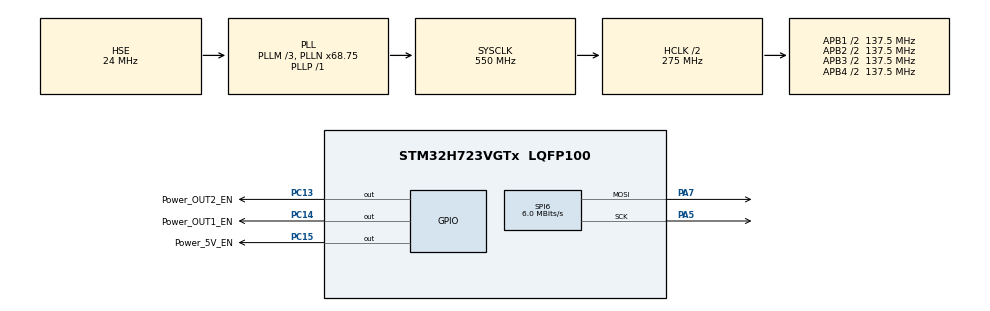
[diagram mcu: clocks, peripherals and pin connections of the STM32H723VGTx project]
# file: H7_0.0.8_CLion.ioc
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Bdma.Request0=SPI6_TX
Bdma.RequestsNb=1
Bdma.SPI6_TX.0.Direction=DMA_MEMORY_TO_PERIPH
Bdma.SPI6_TX.0.EventEnable=DISABLE
Bdma.SPI6_TX.0.Instance=BDMA_Channel0
Bdma.SPI6_TX.0.MemDataAlignment=DMA_MDATAALIGN_BYTE
Bdma.SPI6_TX.0.MemInc=DMA_MINC_ENABLE
Bdma.SPI6_TX.0.Mode=DMA_NORMAL
Bdma.SPI6_TX.0.PeriphDataAlignment=DMA_PDATAALIGN_BYTE
Bdma.SPI6_TX.0.PeriphInc=DMA_PINC_DISABLE
Bdma.SPI6_TX.0.Polarity=HAL_DMAMUX_REQ_GEN_RISING
Bdma.SPI6_TX.0.Priority=DMA_PRIORITY_LOW
Bdma.SPI6_TX.0.RequestNumber=1
Bdma.SPI6_TX.0.SignalID=NONE
Bdma.SPI6_TX.0.SyncEnable=DISABLE
Bdma.SPI6_TX.0.SyncPolarity=HAL_DMAMUX_SYNC_NO_EVENT
Bdma.SPI6_TX.0.SyncRequestNumber=1
Bdma.SPI6_TX.0.SyncSignalID=NONE
CORTEX_M7.CPU_ICache=Enabled
CORTEX_M7.MPU_Control=__NULL
CORTEX_M7.default_mode_Activation=1
FREERTOS.MEMORY_ALLOCATION=1
FREERTOS.Tasks01=defaultTask,0,128,StartDefaultTask,Default,NULL,Static,defaultTaskBuffer,defaultTaskControlBlock
FREERTOS.Timers01=myTimer01,Callback01,osTimerPeriodic,Default,NULL,Static,myTimer01ControlBlock;myTimer02,Callback02,osTimerPeriodic,Default,NULL,Static,myTimer02ControlBlock;myTimer03,Callback03,osTimerPeriodic,Default,NULL,Static,myTimer03ControlBlock
FREERTOS.configENABLE_FPU=1
FREERTOS.configUSE_NEWLIB_REENTRANT=1
FREERTOS.configUSE_TIMERS=1
FREERTOS.copyHeapFile=0
Mcu.Family=STM32H7
Mcu.Name=STM32H723VGTx
Mcu.Package=LQFP100
NVIC.BDMA_Channel0_IRQn=true\:5\:0\:false\:false\:true\:true\:false\:true\:true
NVIC.PriorityGroup=NVIC_PRIORITYGROUP_4
NVIC.SPI6_IRQn=true\:5\:0\:false\:false\:true\:true\:true\:true\:true
NVIC.TIM6_DAC_IRQn=true\:15\:0\:false\:false\:true\:false\:false\:true\:true
NVIC.TimeBase=TIM6_DAC_IRQn
NVIC.TimeBaseIP=TIM6
PA13(JTMS/SWDIO).Mode=Serial_Wire
PA13(JTMS/SWDIO).Signal=DEBUG_JTMS-SWDIO
PA14(JTCK/SWCLK).Mode=Serial_Wire
PA14(JTCK/SWCLK).Signal=DEBUG_JTCK-SWCLK
PA5.Mode=TX_Only_Simplex_Unidirect_Master
PA5.Signal=SPI6_SCK
PA7.Mode=TX_Only_Simplex_Unidirect_Master
PA7.Signal=SPI6_MOSI
PC13.GPIO_Label=Power_OUT2_EN
PC13.Signal=GPIO_Output
PC14-OSC32_IN.GPIO_Label=Power_OUT1_EN
PC14-OSC32_IN.Signal=GPIO_Output
PC15-OSC32_OUT.GPIO_Label=Power_5V_EN
PC15-OSC32_OUT.Signal=GPIO_Output
PH0-OSC_IN.Mode=HSE-External-Oscillator
PH0-OSC_IN.Signal=RCC_OSC_IN
PH1-OSC_OUT.Mode=HSE-External-Oscillator
PH1-OSC_OUT.Signal=RCC_OSC_OUT
ProjectManager.HeapSize=0x200
ProjectManager.StackSize=0x400
ProjectManager.TargetToolchain=STM32CubeIDE
RCC.ADCFreq_Value=48375000
RCC.APB1Freq_Value=137500000
RCC.APB2Freq_Value=137500000
RCC.APB3Freq_Value=137500000
RCC.APB4Freq_Value=137500000
RCC.CortexFreq_Value=550000000
RCC.D1PPRE=RCC_APB3_DIV2
RCC.D2PPRE1=RCC_APB1_DIV2
RCC.D2PPRE2=RCC_APB2_DIV2
RCC.D3PPRE=RCC_APB4_DIV2
RCC.DIVM1=3
RCC.DIVN1=68
RCC.DIVP1=1
RCC.HCLKFreq_Value=275000000
RCC.HPRE=RCC_HCLK_DIV2
RCC.HSE_VALUE=24000000
RCC.PLL2FRACN=0
RCC.PLL3FRACN=0
RCC.PLLFRACN=6144
RCC.PLLSourceVirtual=RCC_PLLSOURCE_HSE
RCC.SPI6CLockSelection=RCC_SPI6CLKSOURCE_HSE
RCC.SYSCLKFreq_VALUE=550000000
RCC.SYSCLKSource=RCC_SYSCLKSOURCE_PLLCLK
RCC.USBFreq_Value=275000000
SPI6.BaudRatePrescaler=SPI_BAUDRATEPRESCALER_4
SPI6.CLKPhase=SPI_PHASE_2EDGE
SPI6.CalculateBaudRate=6.0 MBits/s
SPI6.DataSize=SPI_DATASIZE_8BIT
SPI6.Direction=SPI_DIRECTION_2LINES_TXONLY
SPI6.Mode=SPI_MODE_MASTER
SPI6.VirtualType=VM_MASTER
VP_FREERTOS_VS_CMSIS_V1.Mode=CMSIS_V1
VP_MEMORYMAP_VS_MEMORYMAP.Mode=CurAppReg
VP_SYS_VS_tim6.Mode=TIM6
board=custom

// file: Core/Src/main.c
/* USER CODE BEGIN Header */
/**
  ******************************************************************************
  * @file           : main.c
  * @brief          : Main program body
  ******************************************************************************
  * @attention
  *
  * Copyright (c) 2026 STMicroelectronics.
  * All rights reserved.
  *
  * This software is licensed under terms that can be found in the LICENSE file
  * in the root directory of this software component.
  * If no LICENSE file comes with this software, it is provided AS-IS.
  *
  ******************************************************************************
  */
/* USER CODE END Header */
#include "main.h"
#include "cmsis_os.h"
#include "bdma.h"
#include "spi.h"
#include "gpio.h"

void SystemClock_Config(void);
void MX_FREERTOS_Init(void);

int main(void)
{

  /* Enable the CPU Cache */

  /* Enable I-Cache---------------------------------------------------------*/
  SCB_EnableICache();

  /* MCU Configuration--------------------------------------------------------*/

  /* Reset of all peripherals, Initializes the Flash interface and the Systick. */
  HAL_Init();

  /* Configure the system clock */
  SystemClock_Config();

  /* Initialize all configured peripherals */
  MX_GPIO_Init();
  MX_BDMA_Init();
  MX_SPI6_Init();

  /* Call init function for freertos objects (in cmsis_os2.c) */
  MX_FREERTOS_Init();

  /* Start scheduler */
  osKernelStart();

  /* We should never get here as control is now taken by the scheduler */

  /* Infinite loop */
  while (1)
  {

  }
}

void SystemClock_Config(void)
{
  RCC_OscInitTypeDef RCC_OscInitStruct = {0};
  RCC_ClkInitTypeDef RCC_ClkInitStruct = {0};

  /** Supply configuration update enable
  */
  HAL_PWREx_ConfigSupply(PWR_LDO_SUPPLY);

  /** Configure the main internal regulator output voltage
  */
  __HAL_PWR_VOLTAGESCALING_CONFIG(PWR_REGULATOR_VOLTAGE_SCALE0);

  while(!__HAL_PWR_GET_FLAG(PWR_FLAG_VOSRDY)) {}

  /** Initializes the RCC Oscillators according to the specified parameters
  * in the RCC_OscInitTypeDef structure.
  */
  RCC_OscInitStruct.OscillatorType = RCC_OSCILLATORTYPE_HSE;
  RCC_OscInitStruct.HSEState = RCC_HSE_ON;
  RCC_OscInitStruct.PLL.PLLState = RCC_PLL_ON;
  RCC_OscInitStruct.PLL.PLLSource = RCC_PLLSOURCE_HSE;
  RCC_OscInitStruct.PLL.PLLM = 3;
  RCC_OscInitStruct.PLL.PLLN = 68;
  RCC_OscInitStruct.PLL.PLLP = 1;
  RCC_OscInitStruct.PLL.PLLQ = 2;
  RCC_OscInitStruct.PLL.PLLR = 2;
  RCC_OscInitStruct.PLL.PLLRGE = RCC_PLL1VCIRANGE_3;
  RCC_OscInitStruct.PLL.PLLVCOSEL = RCC_PLL1VCOWIDE;
  RCC_OscInitStruct.PLL.PLLFRACN = 6144;
  if (HAL_RCC_OscConfig(&RCC_OscInitStruct) != HAL_OK)
  {
    Error_Handler();
  }

  /** Initializes the CPU, AHB and APB buses clocks
  */
  RCC_ClkInitStruct.ClockType = RCC_CLOCKTYPE_HCLK|RCC_CLOCKTYPE_SYSCLK
                              |RCC_CLOCKTYPE_PCLK1|RCC_CLOCKTYPE_PCLK2
                              |RCC_CLOCKTYPE_D3PCLK1|RCC_CLOCKTYPE_D1PCLK1;
  RCC_ClkInitStruct.SYSCLKSource = RCC_SYSCLKSOURCE_PLLCLK;
  RCC_ClkInitStruct.SYSCLKDivider = RCC_SYSCLK_DIV1;
  RCC_ClkInitStruct.AHBCLKDivider = RCC_HCLK_DIV2;
  RCC_ClkInitStruct.APB3CLKDivider = RCC_APB3_DIV2;
  RCC_ClkInitStruct.APB1CLKDivider = RCC_APB1_DIV2;
  RCC_ClkInitStruct.APB2CLKDivider = RCC_APB2_DIV2;
  RCC_ClkInitStruct.APB4CLKDivider = RCC_APB4_DIV2;

  if (HAL_RCC_ClockConfig(&RCC_ClkInitStruct, FLASH_LATENCY_3) != HAL_OK)
  {
    Error_Handler();
  }
}

void HAL_TIM_PeriodElapsedCallback(TIM_HandleTypeDef *htim)
{
  if (htim->Instance == TIM6)
  {
    HAL_IncTick();
  }
}

void Error_Handler(void)
{
  __disable_irq();
  while (1)
  {
  }
}

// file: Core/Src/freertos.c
/* USER CODE BEGIN Header */
/**
  ******************************************************************************
  * File Name          : freertos.c
  * Description        : Code for freertos applications
  ******************************************************************************
  * @attention
  *
  * Copyright (c) 2026 STMicroelectronics.
  * All rights reserved.
  *
  * This software is licensed under terms that can be found in the LICENSE file
  * in the root directory of this software component.
  * If no LICENSE file comes with this software, it is provided AS-IS.
  *
  ******************************************************************************
  */
/* USER CODE END Header */

#include "FreeRTOS.h"
#include "task.h"
#include "main.h"
#include "cmsis_os.h"

/* USER CODE BEGIN Includes */
#include "ws2812.h"
/* USER CODE END Includes */

/* USER CODE BEGIN Variables */
uint8_t r = 0;
uint8_t g = 0;
uint8_t b = 0;

/* USER CODE END Variables */
osThreadId defaultTaskHandle;
uint32_t defaultTaskBuffer[ 128 ];
osStaticThreadDef_t defaultTaskControlBlock;
osTimerId myTimer01Handle;
osStaticTimerDef_t myTimer01ControlBlock;
osTimerId myTimer02Handle;
osStaticTimerDef_t myTimer02ControlBlock;
osTimerId myTimer03Handle;
osStaticTimerDef_t myTimer03ControlBlock;

void StartDefaultTask(void const * argument);
void Callback01(void const * argument);
void Callback02(void const * argument);
void Callback03(void const * argument);

void MX_FREERTOS_Init(void); /* (MISRA C 2004 rule 8.1) */

/* GetIdleTaskMemory prototype (linked to static allocation support) */
void vApplicationGetIdleTaskMemory( StaticTask_t **ppxIdleTaskTCBBuffer, StackType_t **ppxIdleTaskStackBuffer, uint32_t *pulIdleTaskStackSize );

/* GetTimerTaskMemory prototype (linked to static allocation support) */
void vApplicationGetTimerTaskMemory( StaticTask_t **ppxTimerTaskTCBBuffer, StackType_t **ppxTimerTaskStackBuffer, uint32_t *pulTimerTaskStackSize );

/* USER CODE BEGIN GET_IDLE_TASK_MEMORY */
static StaticTask_t xIdleTaskTCBBuffer;
static StackType_t xIdleStack[configMINIMAL_STACK_SIZE];

void vApplicationGetIdleTaskMemory( StaticTask_t **ppxIdleTaskTCBBuffer, StackType_t **ppxIdleTaskStackBuffer, uint32_t *pulIdleTaskStackSize )
{
  *ppxIdleTaskTCBBuffer = &xIdleTaskTCBBuffer;
  *ppxIdleTaskStackBuffer = &xIdleStack[0];
  *pulIdleTaskStackSize = configMINIMAL_STACK_SIZE;
  /* place for user code */
}
/* USER CODE END GET_IDLE_TASK_MEMORY */

/* USER CODE BEGIN GET_TIMER_TASK_MEMORY */
static StaticTask_t xTimerTaskTCBBuffer;
static StackType_t xTimerStack[configTIMER_TASK_STACK_DEPTH];

void vApplicationGetTimerTaskMemory( StaticTask_t **ppxTimerTaskTCBBuffer, StackType_t **ppxTimerTaskStackBuffer, uint32_t *pulTimerTaskStackSize )
{
  *ppxTimerTaskTCBBuffer = &xTimerTaskTCBBuffer;
  *ppxTimerTaskStackBuffer = &xTimerStack[0];
  *pulTimerTaskStackSize = configTIMER_TASK_STACK_DEPTH;
  /* place for user code */
}
/* USER CODE END GET_TIMER_TASK_MEMORY */

void MX_FREERTOS_Init(void) {

  /* Create the timer(s) */
  /* definition and creation of myTimer01 */
  osTimerStaticDef(myTimer01, Callback01, &myTimer01ControlBlock);
  myTimer01Handle = osTimerCreate(osTimer(myTimer01), osTimerPeriodic, NULL);

  /* definition and creation of myTimer02 */
  osTimerStaticDef(myTimer02, Callback02, &myTimer02ControlBlock);
  myTimer02Handle = osTimerCreate(osTimer(myTimer02), osTimerPeriodic, NULL);

  /* definition and creation of myTimer03 */
  osTimerStaticDef(myTimer03, Callback03, &myTimer03ControlBlock);
  myTimer03Handle = osTimerCreate(osTimer(myTimer03), osTimerPeriodic, NULL);

  /* USER CODE BEGIN RTOS_TIMERS */
  /* start timers, add new ones, ... */
  osTimerStart(myTimer01Handle,4000);
  osTimerStart(myTimer02Handle,2000);
  /* USER CODE END RTOS_TIMERS */

  /* Create the thread(s) */
  /* definition and creation of defaultTask */
  osThreadStaticDef(defaultTask, StartDefaultTask, osPriorityNormal, 0, 128, defaultTaskBuffer, &defaultTaskControlBlock);
  defaultTaskHandle = osThreadCreate(osThread(defaultTask), NULL);

}

void StartDefaultTask(void const * argument)
{
  /* USER CODE BEGIN StartDefaultTask */
  /* Infinite loop */
  for(;;)
  {
    // WS2812_Ctrl(r, g, b);
    // osDelay(1);

    r = 15;
    g = 0;
    b = 0;
    WS2812_Ctrl(r, g, b);
    osDelay(500);
    r = 15;
    g = 15;
    b = 0;
    WS2812_Ctrl(r, g, b);
    osDelay(500);
    r = 0;
    g = 15;
    b = 0;
    WS2812_Ctrl(r, g, b);
    osDelay(500);
    r = 0;
    g = 15;
    b = 15;
    WS2812_Ctrl(r, g, b);
    osDelay(500);
    r = 0;
    g = 0;
    b = 15;
    WS2812_Ctrl(r, g, b);
    osDelay(500);
    r = 15;
    g = 0;
    b = 15;
    WS2812_Ctrl(r, g, b);
    osDelay(500);

    // r = 255;
    // g = 0;
    // b = 0;
    // WS2812_Ctrl(r, g, b);
    // osDelay(500);
    // r = 255;
    // g = 255;
    // b = 0;
    // WS2812_Ctrl(r, g, b);
    // osDelay(500);
    // r = 0;
    // g = 255;
    // b = 0;
    // WS2812_Ctrl(r, g, b);
    // osDelay(500);
    // r = 0;
    // g = 255;
    // b = 255;
    // WS2812_Ctrl(r, g, b);
    // osDelay(500);
    // r = 0;
    // g = 0;
    // b = 255;
    // WS2812_Ctrl(r, g, b);
    // osDelay(500);
    // r = 255;
    // g = 0;
    // b = 255;
    // WS2812_Ctrl(r, g, b);
    // osDelay(500);

  }
  /* USER CODE END StartDefaultTask */
}

/* Callback01 function */
void Callback01(void const * argument)
{
  /* USER CODE BEGIN Callback01 */
  HAL_GPIO_TogglePin(Power_5V_EN_GPIO_Port,Power_5V_EN_Pin);
  /* USER CODE END Callback01 */
}

/* Callback02 function */
void Callback02(void const * argument)
{
}

/* Callback03 function */
void Callback03(void const * argument)
{
}
